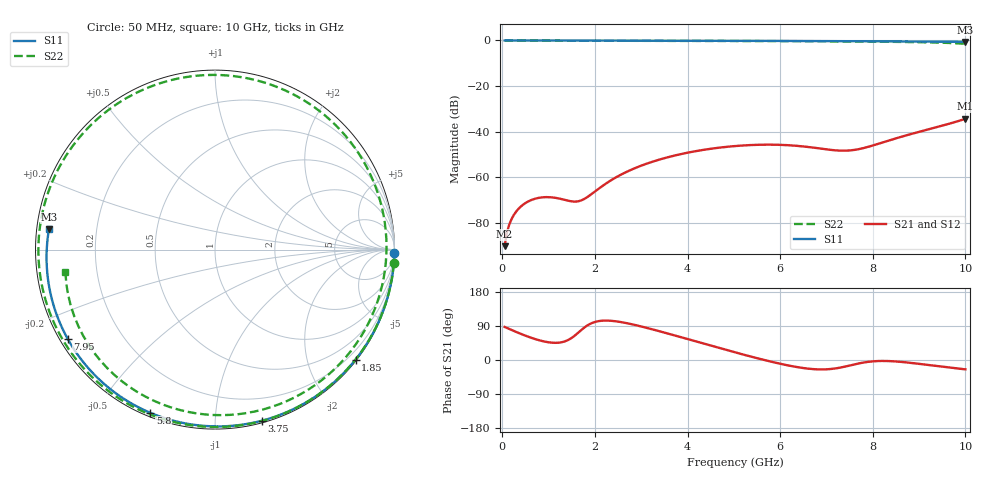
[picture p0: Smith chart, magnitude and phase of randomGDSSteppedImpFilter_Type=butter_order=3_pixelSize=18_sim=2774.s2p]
! freq	dB(S11)	phase(S11)	dB(S12)	phase(S12)
!  dB(S21)	phase(S21)	dB(S22)	phase(S22)
!S-par simulation data
#  GHz  S  DB  R 50
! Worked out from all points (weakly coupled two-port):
!   200 points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, 50 MHz to 10 GHz, reference 50 ohm
!   highest |S21| = -34.33 dB at 10 GHz (marker M1); lowest = -90.1 dB at 50 MHz (marker M2)
!   lowest |S11| = -0.6 dB at 10 GHz (marker M3), VSWR 28.44, Z = 1.76 + j3.07 ohm
!   |S11| at or under -10 dB: nowhere
!   |S22| runs from -1.5 to 0.0 dB; largest |S21 - S12| = 0
!   S11 on the Smith chart (normalised r, x): 50 MHz: open; 1.85 GHz: 0.03, -2.90; 3.75 GHz: 0.02, -1.31; 5.8 GHz: 0.02, -0.68; 7.95 GHz: 0.02, -0.28; 10 GHz: 0.04, +0.06
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0.05  -0.00 -1.0  -90.11 87.3  -90.11 87.3  -0.00 -4.4
0.15  -0.00 -3.1  -80.66 81.9  -80.66 81.9  -0.01 -13.2
0.45  -0.01 -9.4  -71.92 66.6  -71.92 66.6  -0.05 -38.9
0.85  -0.02 -17.7  -68.75 50.4  -68.75 50.4  -0.08 -70.2
1.25  -0.03 -25.9  -69.34 46.2  -69.34 46.2  -0.10 -97.5
1.75  -0.05 -36.0  -69.64 83.5  -69.64 83.5  -0.12 -126.2
1.85  -0.05 -38.0  -68.42 92.2  -68.42 92.2  -0.12 -131.4
2.6  -0.07 -52.9  -58.39 99.3  -58.39 99.3  -0.13 -165.6
3.4  -0.09 -68.2  -52.14 75.7  -52.14 75.7  -0.15 162.9
3.75  -0.10 -74.8  -50.27 63.9  -50.27 63.9  -0.16 149.8
4.45  -0.13 -87.6  -47.59 39.7  -47.59 39.7  -0.19 123.5
5.05  -0.15 -98.4  -46.22 19.4  -46.22 19.4  -0.22 100.1
5.8  -0.19 -111.6  -45.65 -4.3  -45.65 -4.3  -0.27 68.6
6.25  -0.22 -119.4  -45.98 -16.2  -45.98 -16.2  -0.30 48.1
6.7  -0.25 -127.1  -46.90 -23.9  -46.90 -23.9  -0.34 26.4
7.35  -0.30 -138.4  -48.28 -18.8  -48.28 -18.8  -0.41 -6.9
7.95  -0.36 -148.8  -46.32 -4.2  -46.32 -4.2  -0.50 -39.4
8.35  -0.40 -155.9  -43.81 -2.8  -43.81 -2.8  -0.58 -61.7
8.8  -0.45 -164.1  -41.13 -7.3  -41.13 -7.3  -0.70 -87.8
9.2  -0.50 -171.5  -38.95 -13.2  -38.95 -13.2  -0.83 -112.3
9.6  -0.55 -179.1  -36.77 -19.3  -36.77 -19.3  -1.06 -139.4
10  -0.61 173.0  -34.33 -24.6  -34.33 -24.6  -1.49 -171.6
